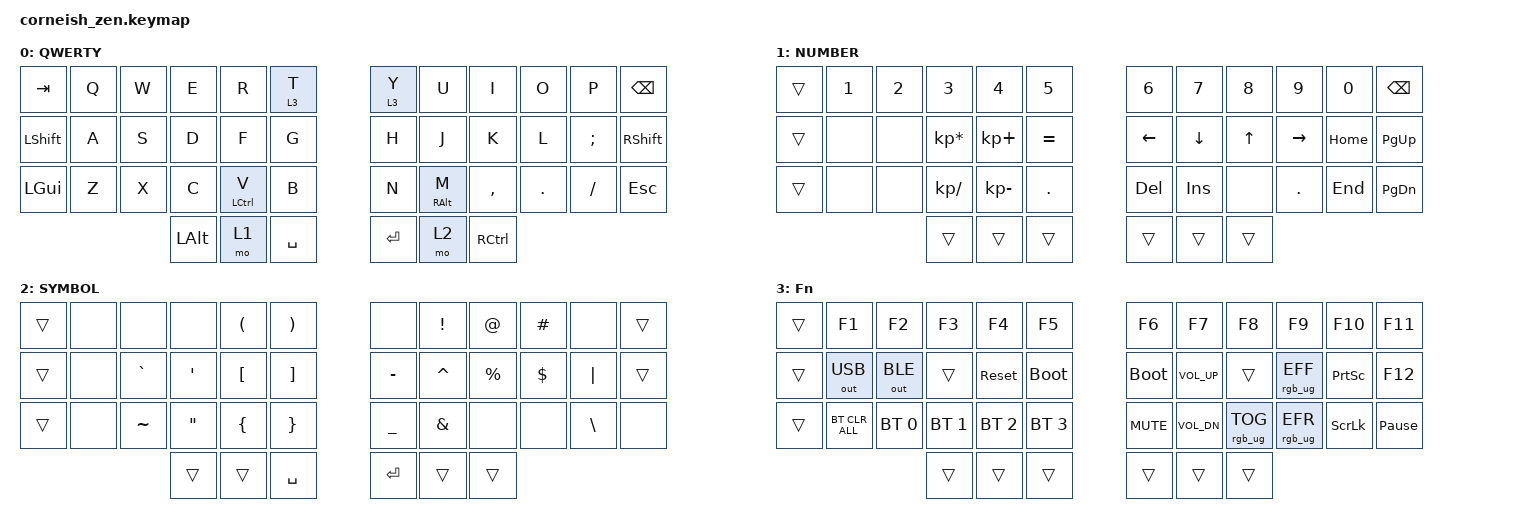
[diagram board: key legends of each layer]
/*
 * Copyright (c) 2020 The ZMK Contributors
 *
 * SPDX-License-Identifier: MIT
 */

#include <behaviors.dtsi>
#include <dt-bindings/zmk/bt.h>
#include <dt-bindings/zmk/ext_power.h>
#include <dt-bindings/zmk/keys.h>
#include <dt-bindings/zmk/outputs.h>
#include <dt-bindings/zmk/rgb.h>

/ {
    chosen {
        zmk,matrix_transform = &default_transform;

        // zmk,matrix_transform = &five_column_transform;
    };
};

/ {
    behaviors {
        hm: homerow_mods {
            compatible = "zmk,behavior-hold-tap";
            #binding-cells = <2>;
            tapping-term-ms = <200>;
            quick-tap-ms = <0>;
            flavor = "tap-preferred";
            bindings = <&kp>, <&kp>;
        };
    };

    keymap {
        compatible = "zmk,keymap";

        default_layer {
            display-name = "QWERTY";

            // --------------------------------------------------------------------------------
            // |  TAB |  Q  |  W  |  E  |  R  |  T  |   |  Y  |  U   |  I  |  O  |  P  | BKSP |
            // | SHFT |  A  |  S  |  D  |  F  |  G  |   |  H  |  J   |  K  |  L  |  ;  | SHFT | 
            // | CTRL |  Z  |  X  |  C  |  V  |  B  |   |  N  |  M   |  ,  |  .  |  /  | ESC  |
            //                    | GUI | LWR | SPC |   | ENT | RSE  | ALT |

            bindings = <
&kp TAB    &kp Q  &kp W  &kp E     &kp R        &lt 3 T        &lt 3 Y      &kp U       &kp I      &kp O    &kp P     &kp BSPC
&kp LSHFT  &kp A  &kp S  &kp D     &kp F        &kp G          &kp H        &kp J       &kp K      &kp L    &kp SEMI  &kp RSHFT
&kp LGUI   &kp Z  &kp X  &kp C     &hm LCTRL V  &kp B          &kp N        &hm RALT M  &kp COMMA  &kp DOT  &kp FSLH  &kp ESC
                         &kp LALT  &mo 1        &kp SPACE      &kp ENTER    &mo 2       &kp RCTRL
            >;
        };

        lower_layer {
            display-name = "NUMBER";
bindings = <
&trans  &kp N1  &kp N2  &kp N3           &kp N4       &kp N5          &kp N6    &kp N7    &kp N8  &kp N9     &kp N0    &kp BSPC
&trans  &none   &none   &kp KP_MULTIPLY  &kp KP_PLUS  &kp EQUAL       &kp LEFT  &kp DOWN  &kp UP  &kp RIGHT  &kp HOME  &kp PG_UP
&trans  &none   &none   &kp KP_DIVIDE    &kp KP_MINUS &kp DOT         &kp DEL   &kp INS   &none   &kp DOT    &kp END   &kp PG_DN
                        &trans           &trans       &trans          &trans    &trans    &trans
            >;
        };

        raise_layer {
            display-name = "SYMBOL";
            bindings = <
&trans  &none  &none      &none    &kp LPAR  &kp RPAR     &none      &kp EXCL   &kp AT     &kp HASH  &none  &trans
&trans  &none  &kp GRAVE  &kp SQT  &kp LBKT  &kp RBKT     &kp MINUS  &kp CARET  &kp PRCNT  &kp DLLR  &kp PIPE  &trans
&trans  &none  &kp TILDE  &kp DQT  &kp LBRC  &kp RBRC     &kp UNDER  &kp AMPS   &none      &none     &kp BSLH  &none
                            &trans  &trans  &kp SPACE     &kp RET    &trans     &trans
            >;
        };

        layer_3 {
            display-name = "Fn";
            bindings = <
&trans  &kp F1          &kp F2        &kp F3        &kp F4        &kp F5          &kp F6       &kp F7         &kp F8           &kp F9           &kp F10          &kp F11
&trans  &out OUT_USB    &out OUT_BLE  &trans        &sys_reset    &bootloader     &bootloader  &kp C_VOL_UP   &trans           &rgb_ug RGB_EFF  &kp PRINTSCREEN  &kp F12
&trans  &bt BT_CLR_ALL  &bt BT_SEL 0  &bt BT_SEL 1  &bt BT_SEL 2  &bt BT_SEL 3    &kp C_MUTE   &kp C_VOL_DN   &rgb_ug RGB_TOG  &rgb_ug RGB_EFR  &kp SCROLLLOCK   &kp PAUSE_BREAK
                                      &trans        &trans        &trans          &trans       &trans         &trans
            >;
        };
    };
};
